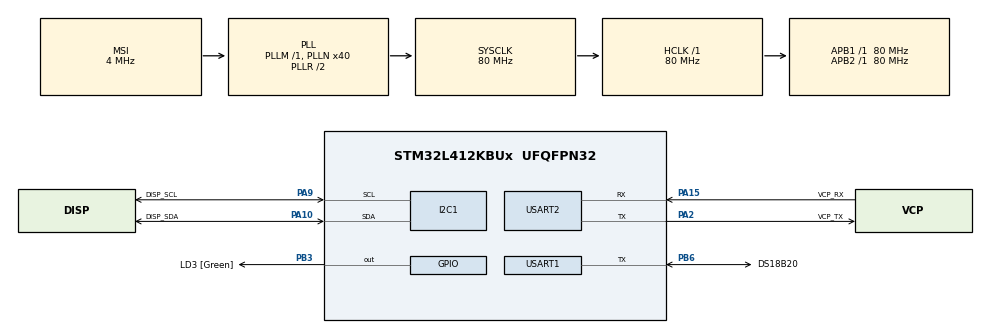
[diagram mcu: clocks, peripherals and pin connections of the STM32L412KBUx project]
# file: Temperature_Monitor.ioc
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I2C1.Timing=0x10909CEC
Mcu.Family=STM32L4
Mcu.Name=STM32L412KBUx
Mcu.Package=UFQFPN32
NVIC.PriorityGroup=NVIC_PRIORITYGROUP_4
NVIC.USART1_IRQn=true\:0\:0\:false\:false\:true\:true\:true\:true
PA0-CK_IN.Mode=HSE-External-Clock-Source-for-LittleOrca
PA0-CK_IN.Signal=RCC_CK_IN
PA10.GPIO_Label=DISP_SDA
PA10.Mode=I2C
PA10.Signal=I2C1_SDA
PA13\ (JTMS/SWDIO).GPIO_Label=SWDIO
PA13\ (JTMS/SWDIO).Mode=Serial_Wire
PA13\ (JTMS/SWDIO).Signal=SYS_JTMS-SWDIO
PA14\ (JTCK/SWCLK).GPIO_Label=SWCLK
PA14\ (JTCK/SWCLK).Mode=Serial_Wire
PA14\ (JTCK/SWCLK).Signal=SYS_JTCK-SWCLK
PA15\ (JTDI).GPIO_Label=VCP_RX
PA15\ (JTDI).Mode=Asynchronous
PA15\ (JTDI).Signal=USART2_RX
PA2.GPIO_Label=VCP_TX
PA2.Mode=Asynchronous
PA2.Signal=USART2_TX
PA9.GPIO_Label=DISP_SCL
PA9.Mode=I2C
PA9.Signal=I2C1_SCL
PB3\ (JTDO/TRACESWO).GPIO_Label=LD3 [Green]
PB3\ (JTDO/TRACESWO).Signal=GPIO_Output
PB6.GPIO_Label=DS18B20
PB6.Mode=Half_duplex(single_wire_mode)
PB6.Signal=USART1_TX
PC14-OSC32_IN\ (PC14).Mode=LSE-External-Oscillator
PC14-OSC32_IN\ (PC14).Signal=RCC_OSC32_IN
PC15-OSC32_OUT\ (PC15).Mode=LSE-External-Oscillator
PC15-OSC32_OUT\ (PC15).Signal=RCC_OSC32_OUT
ProjectManager.HeapSize=0x200
ProjectManager.StackSize=0x400
ProjectManager.TargetToolchain=STM32CubeIDE
RCC.ADCFreq_Value=80000000
RCC.AHBFreq_Value=80000000
RCC.APB1Freq_Value=80000000
RCC.APB1TimFreq_Value=80000000
RCC.APB2Freq_Value=80000000
RCC.APB2TimFreq_Value=80000000
RCC.CortexFreq_Value=80000000
RCC.FLatency=FLASH_LATENCY_4
RCC.HCLKFreq_Value=80000000
RCC.HSE_VALUE=8000000
RCC.HSI48_VALUE=48000000
RCC.HSICalibrationValue=16
RCC.HSI_VALUE=16000000
RCC.LSE_Drive_Capability=RCC_LSEDRIVE_LOW
RCC.MSI_VALUE=4000000
RCC.PLLN=40
RCC.SYSCLKFreq_VALUE=80000000
RCC.SYSCLKSource=RCC_SYSCLKSOURCE_PLLCLK
RCC.USBFreq_Value=4000000
RCC.VCOOutputFreq_Value=160000000
USART1.VirtualMode-Half_duplex(single_wire_mode)=VM_ASYNC
USART2.VirtualMode-Asynchronous=VM_ASYNC
board=NUCLEO-L412KB

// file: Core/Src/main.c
/* USER CODE BEGIN Header */
/**
  ******************************************************************************
  * @file           : main.c
  * @brief          : Main program body
  ******************************************************************************
  * @attention
  *
  * Copyright (c) 2023 STMicroelectronics.
  * All rights reserved.
  *
  * This software is licensed under terms that can be found in the LICENSE file
  * in the root directory of this software component.
  * If no LICENSE file comes with this software, it is provided AS-IS.
  *
  ******************************************************************************
  */
/* USER CODE END Header */
#include "main.h"
#include "i2c.h"
#include "usart.h"
#include "gpio.h"

/* USER CODE BEGIN Includes */
#include "logger.h"
#include "i2c_tester.h"
#include "lcd_16x2.h"

#include "OneWire.h"
/* USER CODE END Includes */

/* USER CODE BEGIN PV */
extern float Temp[MAXDEVICES_ON_THE_BUS];
/* USER CODE END PV */

void SystemClock_Config(void);

int main(void)
{

  /* MCU Configuration--------------------------------------------------------*/

  /* Reset of all peripherals, Initializes the Flash interface and the Systick. */
  HAL_Init();

  /* Configure the system clock */
  SystemClock_Config();

  /* Initialize all configured peripherals */
  MX_GPIO_Init();
  MX_USART2_UART_Init();
  MX_I2C1_Init();
  MX_USART1_UART_Init();
  /* USER CODE BEGIN 2 */
  printf_log("-----------Temperature Monitor-----------\n", LOG_INFO);
  check_connected_i2c_dev(&hi2c1);
  lcd_init();
  lcd_put_cur(0, 4);
  lcd_send_string ("Nexotron");
  lcd_put_cur(1, 4);
  lcd_send_string("Infotech");
  HAL_Delay(2000);
  lcd_clear ();
  HAL_Delay(2000);
  lcd_put_cur(0, 2);
  lcd_send_string ("Temp Monitor");
  lcd_put_cur(1, 6);
  lcd_send_string ("0 F");

  HAL_UART_Transmit(&huart1, 0xF0, 1, 0xf);
  get_ROMid();
  /* USER CODE END 2 */

  /* Infinite loop */
  /* USER CODE BEGIN WHILE */
  printf_log("Reading Temperature...\n", LOG_INFO);
  while (1)
  {
	  get_Temperature();

	  uint8_t buffer[20];
	  sprintf((char *)buffer, "Temperature: %f C", Temp[0]);
	  printf_log((char *)buffer, LOG_INFO);
	  HAL_Delay(1000);
    /* USER CODE END WHILE */

  }
}

void SystemClock_Config(void)
{
  RCC_OscInitTypeDef RCC_OscInitStruct = {0};
  RCC_ClkInitTypeDef RCC_ClkInitStruct = {0};

  /** Configure the main internal regulator output voltage
  */
  if (HAL_PWREx_ControlVoltageScaling(PWR_REGULATOR_VOLTAGE_SCALE1) != HAL_OK)
  {
    Error_Handler();
  }

  /** Configure LSE Drive Capability
  */
  HAL_PWR_EnableBkUpAccess();
  __HAL_RCC_LSEDRIVE_CONFIG(RCC_LSEDRIVE_LOW);

  /** Initializes the RCC Oscillators according to the specified parameters
  * in the RCC_OscInitTypeDef structure.
  */
  RCC_OscInitStruct.OscillatorType = RCC_OSCILLATORTYPE_LSE|RCC_OSCILLATORTYPE_MSI;
  RCC_OscInitStruct.LSEState = RCC_LSE_ON;
  RCC_OscInitStruct.MSIState = RCC_MSI_ON;
  RCC_OscInitStruct.MSICalibrationValue = 0;
  RCC_OscInitStruct.MSIClockRange = RCC_MSIRANGE_6;
  RCC_OscInitStruct.PLL.PLLState = RCC_PLL_ON;
  RCC_OscInitStruct.PLL.PLLSource = RCC_PLLSOURCE_MSI;
  RCC_OscInitStruct.PLL.PLLM = 1;
  RCC_OscInitStruct.PLL.PLLN = 40;
  RCC_OscInitStruct.PLL.PLLQ = RCC_PLLQ_DIV2;
  RCC_OscInitStruct.PLL.PLLR = RCC_PLLR_DIV2;
  if (HAL_RCC_OscConfig(&RCC_OscInitStruct) != HAL_OK)
  {
    Error_Handler();
  }

  /** Initializes the CPU, AHB and APB buses clocks
  */
  RCC_ClkInitStruct.ClockType = RCC_CLOCKTYPE_HCLK|RCC_CLOCKTYPE_SYSCLK
                              |RCC_CLOCKTYPE_PCLK1|RCC_CLOCKTYPE_PCLK2;
  RCC_ClkInitStruct.SYSCLKSource = RCC_SYSCLKSOURCE_PLLCLK;
  RCC_ClkInitStruct.AHBCLKDivider = RCC_SYSCLK_DIV1;
  RCC_ClkInitStruct.APB1CLKDivider = RCC_HCLK_DIV1;
  RCC_ClkInitStruct.APB2CLKDivider = RCC_HCLK_DIV1;

  if (HAL_RCC_ClockConfig(&RCC_ClkInitStruct, FLASH_LATENCY_4) != HAL_OK)
  {
    Error_Handler();
  }

  /** Enable MSI Auto calibration
  */
  HAL_RCCEx_EnableMSIPLLMode();
}

void Error_Handler(void)
{
  __disable_irq();
  while (1)
  {
  }
}
